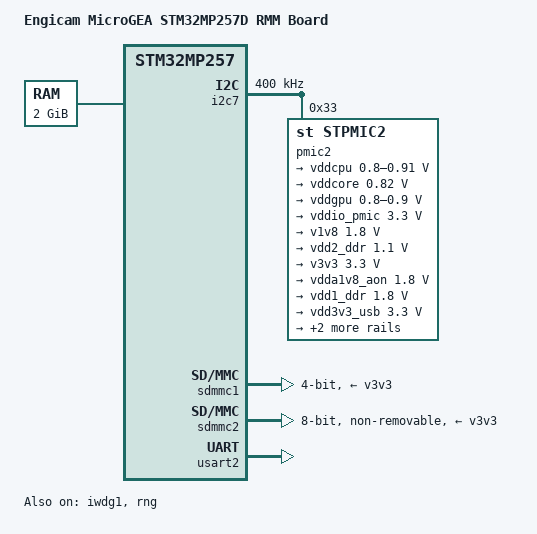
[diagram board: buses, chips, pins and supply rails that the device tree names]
// SPDX-License-Identifier: (GPL-2.0-only OR BSD-3-Clause)
/*
 * Copyright (C) 2026 Amarula Solutions, Dario Binacchi <dario.binacchi@amarulasolutions.com>
 * Copyright (C) 2026 Engicam srl
 * Copyright (C) STMicroelectronics 2025 - All Rights Reserved
 */

/dts-v1/;

#include <dt-bindings/clock/stm32mp25-clksrc.h>
#include "stm32mp257.dtsi"
#include "stm32mp257d-engicam-microgea-rmm-ca35tdcid-rcc.dtsi"
#include "stm32mp25-lpddr4-1x16Gbits-1x16bits-1200MHz.dtsi"
#include "stm32mp25-pinctrl.dtsi"
#include "stm32mp25xxal-pinctrl.dtsi"

/ {
	model = "Engicam MicroGEA STM32MP257D RMM Board";
	compatible = "engicam,microgea-stm32mp257d-rmm",
		     "engicam,microgea-stm32mp257", "st,stm32mp257";

	aliases {
		serial0 = &usart2;
	};

	chosen {
		stdout-path = "serial0:115200n8";
	};

	memory@80000000 {
		device_type = "memory";
		reg = <0x0 0x80000000 0x0 0x80000000>;
	};
};

&ddr {
	vdd1-supply = <&vdd1_ddr>;
	vdd2-supply = <&vdd2_ddr>;
	vddq-supply = <&vdd2_ddr>;
};

&i2c7 {
	pinctrl-names = "default";
	pinctrl-0 = <&i2c7_pins_b>;
	i2c-scl-rising-time-ns = <185>;
	i2c-scl-falling-time-ns = <20>;
	clock-frequency = <400000>;
	status = "okay";
	#address-cells = <1>;
	#size-cells = <0>;

	pmic2: stpmic@33 {
		compatible = "st,stpmic2";
		reg = <0x33>;
		status = "okay";

		regulators {
			compatible = "st,stpmic2-regulators";

			vddcpu: buck1 {
				regulator-name = "vddcpu";
				regulator-min-microvolt = <800000>;
				regulator-max-microvolt = <910000>;
				regulator-always-on;
			};

			vddcore: buck2 {
				regulator-name = "vddcore";
				regulator-min-microvolt = <820000>;
				regulator-max-microvolt = <820000>;
				regulator-always-on;
			};

			vddgpu: buck3 {
				regulator-name = "vddgpu";
				regulator-min-microvolt = <800000>;
				regulator-max-microvolt = <900000>;
				regulator-always-on;
			};

			vddio_pmic: buck4 {
				regulator-name = "vddio_pmic";
				regulator-min-microvolt = <3300000>;
				regulator-max-microvolt = <3300000>;
				regulator-always-on;
			};

			v1v8: buck5 {
				regulator-name = "v1v8";
				regulator-min-microvolt = <1800000>;
				regulator-max-microvolt = <1800000>;
				regulator-always-on;
			};

			vdd2_ddr: buck6 {
				regulator-name = "vdd2_ddr";
				regulator-min-microvolt = <1100000>;
				regulator-max-microvolt = <1100000>;
				regulator-always-on;
			};

			v3v3: buck7 {
				regulator-name = "v3v3";
				regulator-min-microvolt = <3300000>;
				regulator-max-microvolt = <3300000>;
				regulator-always-on;
			};

			vdda1v8_aon: ldo1 {
				regulator-name = "vdda1v8_aon";
				regulator-min-microvolt = <1800000>;
				regulator-max-microvolt = <1800000>;
				regulator-always-on;
			};

			vdd1_ddr: ldo3 {
				regulator-name = "vdd1_ddr";
				regulator-min-microvolt = <1800000>;
				regulator-max-microvolt = <1800000>;
				regulator-always-on;
			};

			vdd3v3_usb: ldo4 {
				regulator-name = "vdd3v3_usb";
				regulator-min-microvolt = <3300000>;
				regulator-max-microvolt = <3300000>;
				regulator-always-on;
			};

			v3v3_lan: ldo7 {
				regulator-name = "v3v3_lan";
				regulator-min-microvolt = <3300000>;
				regulator-max-microvolt = <3300000>;
				regulator-always-on;
			};

			vddio_sdcard: ldo8 {
				regulator-name = "vddio_sdcard";
				st,regulator-bypass-microvolt = <3300000>;
				regulator-min-microvolt = <1800000>;
				regulator-max-microvolt = <3300000>;
				regulator-always-on;
			};
		};
	};
};

&iwdg1 {
	timeout-sec = <32>;
	status = "okay";
};

&pwr {
	vddio1: vddio1 {
		vddio1-supply = <&vddio_sdcard>;
	};

	vddio2: vddio2 {
		vddio2-supply = <&v1v8>;
	};

	vddio3: vddio3 {
		vddio3-supply = <&vddio_pmic>;
	};

	vddio4: vddio4 {
		vddio4-supply = <&vddio_pmic>;
	};

	vddio: vddio {
		vdd-supply = <&vddio_pmic>;
	};
};

&rng {
	status = "okay";
};

&sdmmc1 {
	pinctrl-names = "default";
	pinctrl-0 = <&sdmmc1_b4_pins_a>;
	st,neg-edge;
	bus-width = <4>;
	vmmc-supply = <&v3v3>;
	vqmmc-supply = <&vddio1>;
	status = "okay";
};

&sdmmc2 {
	pinctrl-names = "default";
	pinctrl-0 = <&sdmmc2_b4_pins_a &sdmmc2_d47_pins_a>;
	non-removable;
	no-sd;
	no-sdio;
	st,neg-edge;
	bus-width = <8>;
	vmmc-supply = <&v3v3>;
	vqmmc-supply = <&vddio2>;
	status = "okay";
};

&usart2 {
	pinctrl-names = "default";
	pinctrl-0 = <&usart2_pins_a>;
	status = "okay";
};
